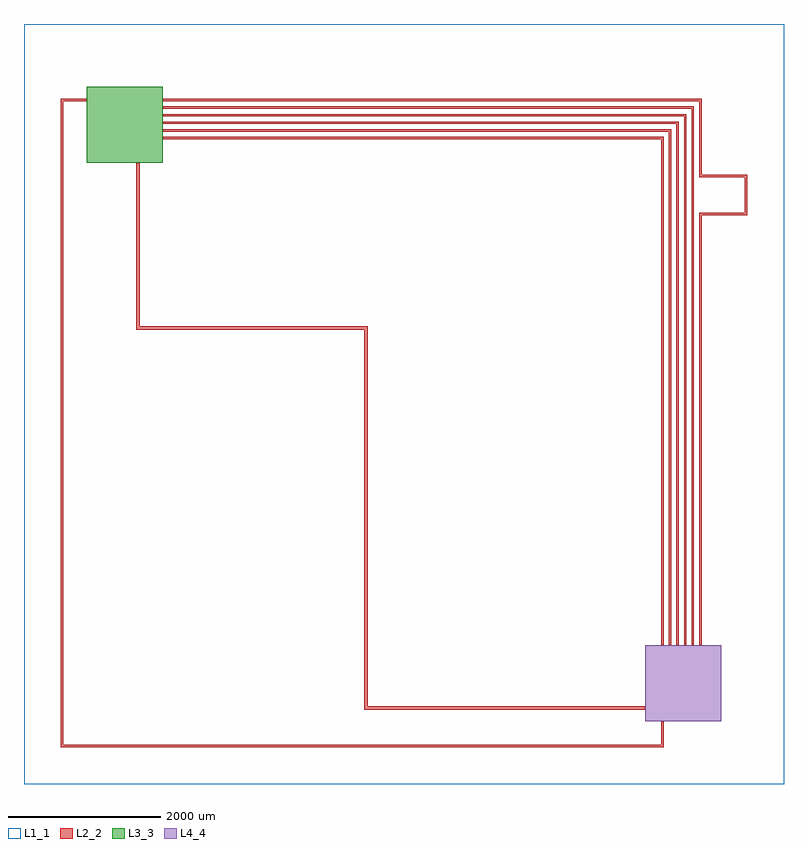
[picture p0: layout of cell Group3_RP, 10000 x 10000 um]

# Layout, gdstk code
import gdstk
lib = gdstk.Library(unit=1e-6, precision=1e-09)
def R(c, l, rs):  # rectangles x0, y0, x1, y1
    for r in rs: c.add(gdstk.rectangle(r[:2], r[2:], *l))
L1_1 = (1, 1)
L2_2 = (2, 2)
L3_3 = (3, 3)
L4_4 = (4, 4)

group3_rp = lib.new_cell('Group3_RP')
R(group3_rp, L1_1, [(-5000,-5000,5000,5000)])
R(group3_rp, L3_3, [(-4175,3175,-3175,4175)])
R(group3_rp, L4_4, [(3175,-4175,4175,-3175)])
group3_rp.add(gdstk.FlexPath([(-3500,3175),(-3500,1000),(-500,1000),(-500,-4000),(3175,-4000)], 50, ends="flush", simple_path=True, layer=2, datatype=2))  # L2_2
group3_rp.add(gdstk.FlexPath([(-3175,3500),(3400,3500),(3400,-3175)], 30, ends="flush", simple_path=True, layer=2, datatype=2))  # L2_2
group3_rp.add(gdstk.FlexPath([(-3175,3600),(3500,3600),(3500,-3175)], 30, ends="flush", simple_path=True, layer=2, datatype=2))  # L2_2
group3_rp.add(gdstk.FlexPath([(-3175,3700),(3600,3700),(3600,-3175)], 30, ends="flush", simple_path=True, layer=2, datatype=2))  # L2_2
group3_rp.add(gdstk.FlexPath([(-3175,3800),(3700,3800),(3700,-3175)], 30, ends="flush", simple_path=True, layer=2, datatype=2))  # L2_2
group3_rp.add(gdstk.FlexPath([(-3175,3900),(3800,3900),(3800,-3175)], 30, ends="flush", simple_path=True, layer=2, datatype=2))  # L2_2
group3_rp.add(gdstk.FlexPath([(-3175,4000),(3900,4000),(3900,3000),(4500,3000),(4500,2500),(3900,2500),(3900,-3175)], 30, ends="flush", simple_path=True, layer=2, datatype=2))  # L2_2
group3_rp.add(gdstk.FlexPath([(-4175,4000),(-4500,4000),(-4500,-4500),(3400,-4500),(3400,-4175)], 30, ends="flush", simple_path=True, layer=2, datatype=2))  # L2_2

lib.write_gds('Group3_RP.gds')
